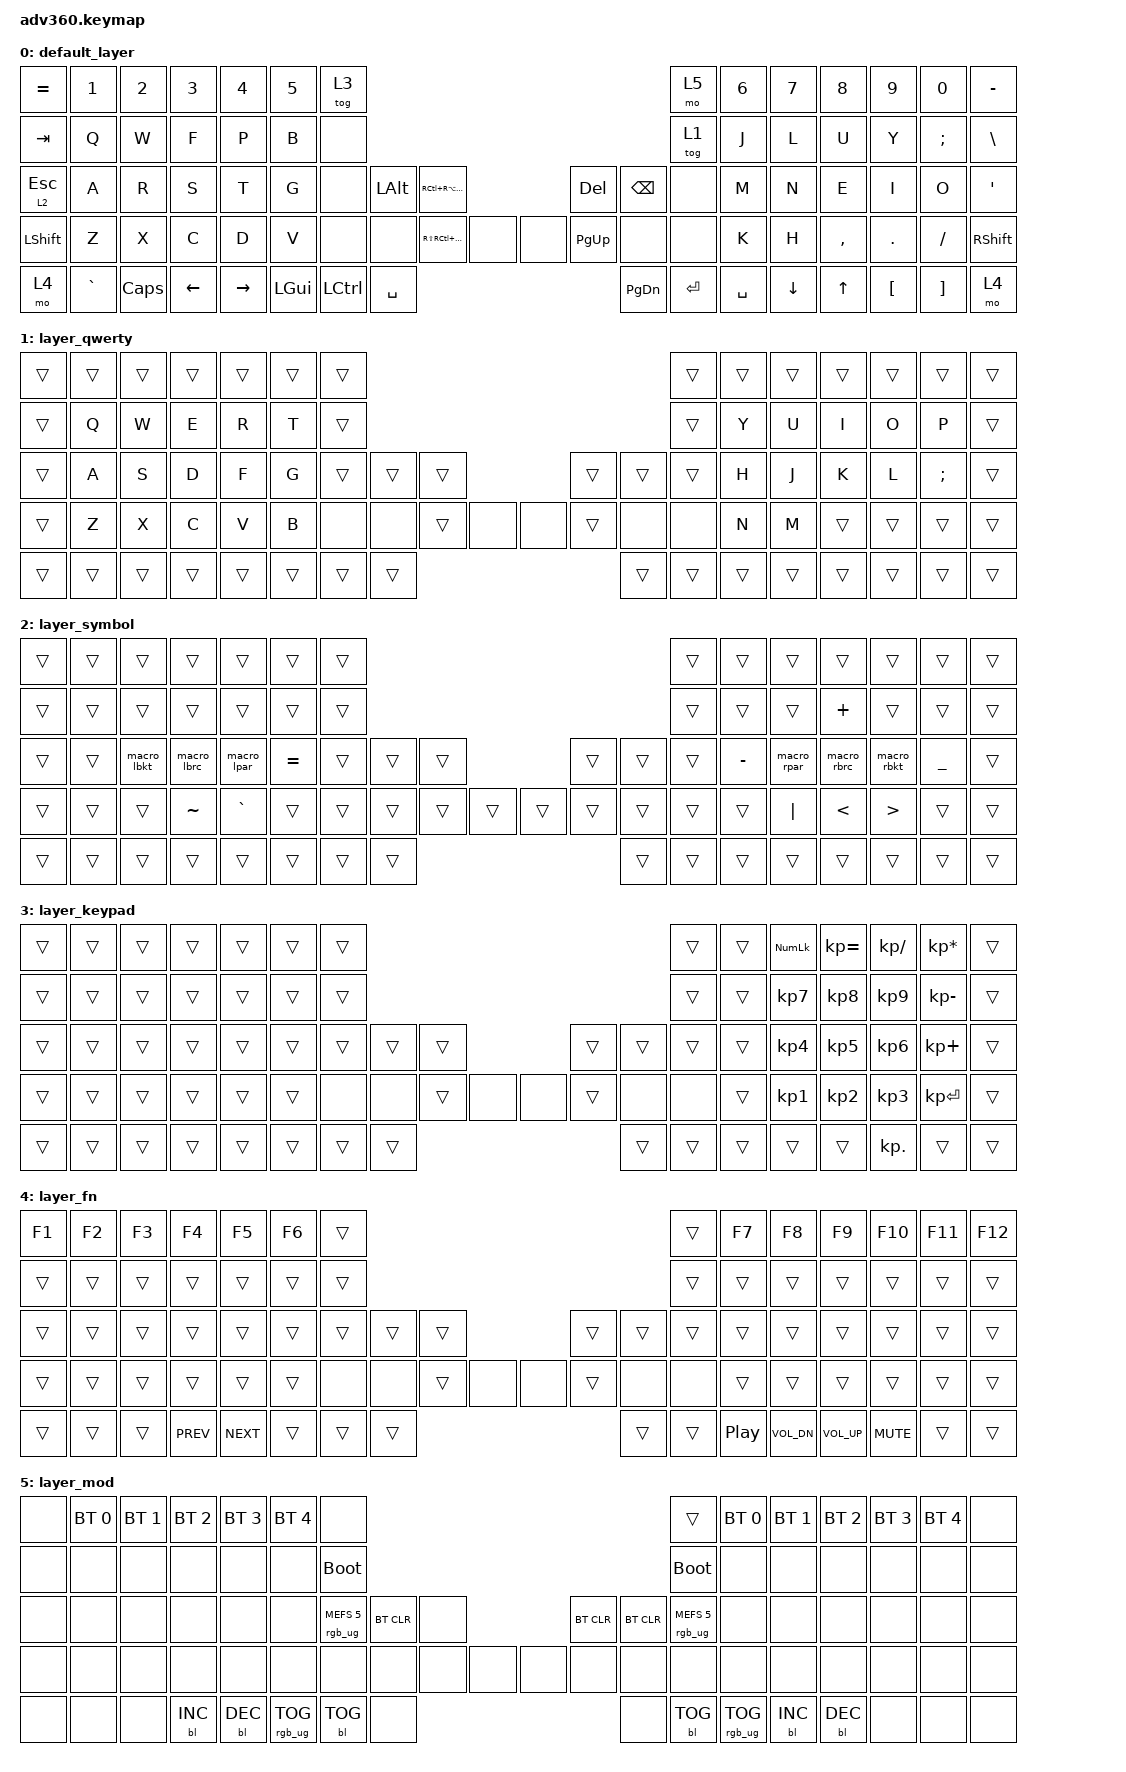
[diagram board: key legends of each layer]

/*
 * Copyright (c) 2020 The ZMK Contributors
 *
 * SPDX-License-Identifier: MIT
 */


/* THIS FILE WAS GENERATED!
 *
 * This file was generated automatically. You may or may not want to
 * edit it directly.
 */

#include <behaviors.dtsi>
#include <dt-bindings/zmk/keys.h>
#include <dt-bindings/zmk/bt.h>
#include <dt-bindings/zmk/rgb.h>
#include <dt-bindings/zmk/backlight.h>

&lt {
    flavor = "hold-preferred";
    tapping-term-ms = <150>;
};

/ {
    behaviors {
        #include "macros.dtsi"

        hm: homerow_mods {
            compatible = "zmk,behavior-hold-tap";
            label = "HOMEROW_MODS";
            #binding-cells = <2>;
            tapping-term-ms = <200>;
            quick_tap_ms = <175>;
            flavor = "tap-preferred";
            bindings = <&kp>, <&kp>;
        };
    };

    keymap {
        compatible = "zmk,keymap";


        default_layer {
            bindings = <
 &kp EQUAL     &kp N1    &kp N2    &kp N3     &kp N4    &kp N5  &tog 3                                                                                            &mo 5  &kp N6    &kp N7     &kp N8    &kp N9    &kp N0  &kp MINUS
   &kp TAB      &kp Q     &kp W     &kp F      &kp P     &kp B   &none                                                                                           &tog 1   &kp J     &kp L      &kp U     &kp Y  &kp SEMI   &kp BSLH
 &lt 2 ESC      &kp A     &kp R     &kp S      &kp T     &kp G   &none             &kp LALT      &kp RC(RA(RGUI))                  &kp DEL  &kp BSPC              &none   &kp M     &kp N      &kp E     &kp I     &kp O    &kp SQT
 &kp LSHFT      &kp Z     &kp X     &kp C      &kp D     &kp V             &none      &none  &kp RS(RC(RA(RGUI)))  &none  &none  &kp PG_UP     &none      &none           &kp K     &kp H  &kp COMMA   &kp DOT  &kp FSLH  &kp RSHFT
     &mo 4  &kp GRAVE  &kp CAPS  &kp LEFT  &kp RIGHT                    &kp LGUI  &kp LCTRL             &kp SPACE                &kp PG_DN   &kp RET  &kp SPACE                  &kp DOWN     &kp UP  &kp LBKT  &kp RBKT      &mo 4
            >;
        };

        layer_qwerty {
            bindings = <
 &trans  &trans  &trans  &trans  &trans  &trans  &trans                                                                 &trans  &trans  &trans  &trans  &trans    &trans  &trans
 &trans   &kp Q   &kp W   &kp E   &kp R   &kp T  &trans                                                                 &trans   &kp Y   &kp U   &kp I   &kp O     &kp P  &trans
 &trans   &kp A   &kp S   &kp D   &kp F   &kp G  &trans          &trans  &trans                 &trans  &trans          &trans   &kp H   &kp J   &kp K   &kp L  &kp SEMI  &trans
 &trans   &kp Z   &kp X   &kp C   &kp V   &kp B           &none   &none  &trans  &none   &none  &trans   &none   &none           &kp N   &kp M  &trans  &trans    &trans  &trans
 &trans  &trans  &trans  &trans  &trans                  &trans  &trans  &trans                 &trans  &trans  &trans                  &trans  &trans  &trans    &trans  &trans
            >;
        };

        layer_symbol {
            bindings = <
 &trans  &trans       &trans       &trans       &trans     &trans  &trans                                                                  &trans     &trans       &trans       &trans       &trans     &trans  &trans
 &trans  &trans       &trans       &trans       &trans     &trans  &trans                                                                  &trans     &trans       &trans     &kp PLUS       &trans     &trans  &trans
 &trans  &trans  &macro_lbkt  &macro_lbrc  &macro_lpar  &kp EQUAL  &trans          &trans  &trans                  &trans  &trans          &trans  &kp MINUS  &macro_rpar  &macro_rbrc  &macro_rbkt  &kp UNDER  &trans
 &trans  &trans       &trans    &kp TILDE    &kp GRAVE     &trans          &trans  &trans  &trans  &trans  &trans  &trans  &trans  &trans             &trans     &kp PIPE       &kp LT       &kp GT     &trans  &trans
 &trans  &trans       &trans       &trans       &trans                     &trans  &trans  &trans                  &trans  &trans  &trans                          &trans       &trans       &trans     &trans  &trans
            >;
        };

        layer_keypad {
            bindings = <
 &trans  &trans  &trans  &trans  &trans  &trans  &trans                                                                &trans  &trans  &kp KP_NUM  &kp KP_EQUAL  &kp KP_DIVIDE  &kp KP_MULTIPLY  &trans
 &trans  &trans  &trans  &trans  &trans  &trans  &trans                                                                &trans  &trans   &kp KP_N7     &kp KP_N8      &kp KP_N9     &kp KP_MINUS  &trans
 &trans  &trans  &trans  &trans  &trans  &trans  &trans          &trans  &trans                &trans  &trans          &trans  &trans   &kp KP_N4     &kp KP_N5      &kp KP_N6      &kp KP_PLUS  &trans
 &trans  &trans  &trans  &trans  &trans  &trans           &none   &none  &trans  &none  &none  &trans   &none   &none          &trans   &kp KP_N1     &kp KP_N2      &kp KP_N3     &kp KP_ENTER  &trans
 &trans  &trans  &trans  &trans  &trans                  &trans  &trans  &trans                &trans  &trans  &trans                      &trans        &trans     &kp KP_DOT           &trans  &trans
            >;
        };

        layer_fn {
            bindings = <
 &kp F1  &kp F2  &kp F3      &kp F4      &kp F5  &kp F6  &trans                                                                           &trans  &kp F7        &kp F8        &kp F9     &kp F10  &kp F11  &kp F12
 &trans  &trans  &trans      &trans      &trans  &trans  &trans                                                                           &trans  &trans        &trans        &trans      &trans   &trans   &trans
 &trans  &trans  &trans      &trans      &trans  &trans  &trans          &trans  &trans                 &trans  &trans                    &trans  &trans        &trans        &trans      &trans   &trans   &trans
 &trans  &trans  &trans      &trans      &trans  &trans           &none   &none  &trans   &none  &none  &trans   &none             &none          &trans        &trans        &trans      &trans   &trans   &trans
 &trans  &trans  &trans  &kp C_PREV  &kp C_NEXT                  &trans  &trans  &trans                 &trans  &trans  &kp C_PLAY_PAUSE                  &kp C_VOL_DN  &kp C_VOL_UP  &kp C_MUTE   &trans   &trans
            >;
        };

        layer_mod {
            bindings = <
  &none  &bt BT_SEL 0  &bt BT_SEL 1  &bt BT_SEL 2  &bt BT_SEL 3  &bt BT_SEL 4                   &none                                                                                                             &trans  &bt BT_SEL 0  &bt BT_SEL 1  &bt BT_SEL 2  &bt BT_SEL 3  &bt BT_SEL 4  &none
  &none         &none         &none         &none         &none         &none             &bootloader                                                                                                        &bootloader         &none         &none         &none         &none         &none  &none
  &none         &none         &none         &none         &none         &none  &rgb_ug RGB_MEFS_CMD 5                   &bt BT_CLR  &none                &bt BT_CLR  &bt BT_CLR                   &rgb_ug RGB_MEFS_CMD 5         &none         &none         &none         &none         &none  &none
  &none         &none         &none         &none         &none         &none                                    &none  &none       &none  &none  &none       &none       &none            &none                                 &none         &none         &none         &none         &none  &none
  &none         &none         &none    &bl BL_INC    &bl BL_DEC                                        &rgb_ug RGB_TOG  &bl BL_TOG  &none                     &none  &bl BL_TOG  &rgb_ug RGB_TOG                                          &bl BL_INC    &bl BL_DEC         &none         &none  &none
            >;
        };

    };
};
